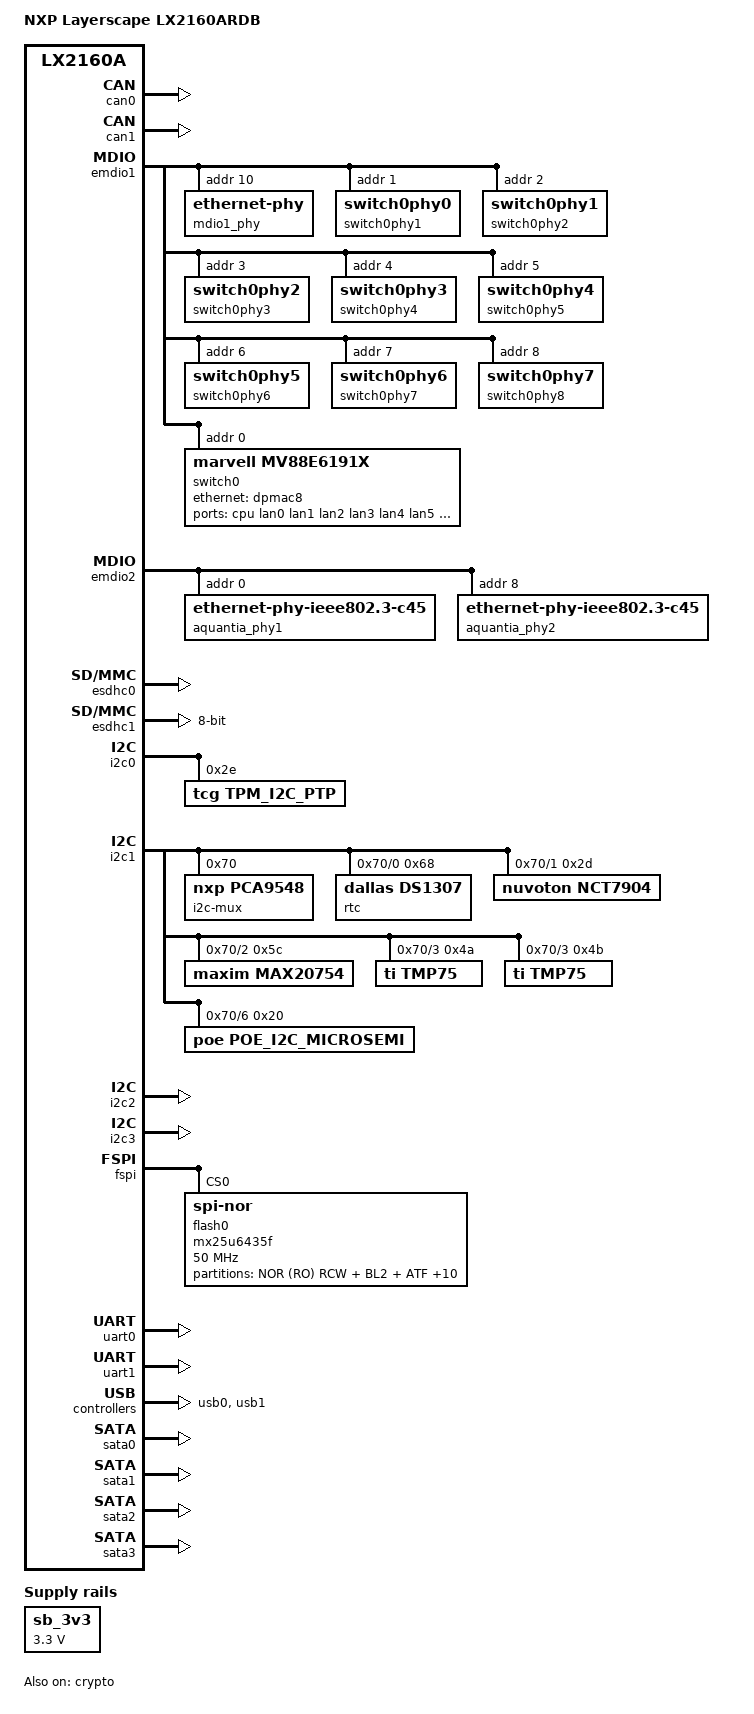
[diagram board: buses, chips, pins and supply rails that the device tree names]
// SPDX-License-Identifier: (GPL-2.0 OR MIT)
//
// Device Tree file for LX2160ARDB
//
// Copyright 2018-2019 NXP

/dts-v1/;

#include "fsl-lx2160a_m590_m690.dtsi"

/ {
	model = "NXP Layerscape LX2160ARDB";
	compatible = "fsl,lx2160a-rdb", "fsl,lx2160a";

	aliases {
		crypto = &crypto;
		serial0 = &uart0;
	};

	chosen {
		stdout-path = "serial0:115200n8";
	};

	sb_3v3: regulator-sb3v3 {
		compatible = "regulator-fixed";
		regulator-name = "MC34717-3.3VSB";
		regulator-min-microvolt = <3300000>;
		regulator-max-microvolt = <3300000>;
		regulator-boot-on;
		regulator-always-on;
	};
};

&can0 {
	status = "okay";

	can-transceiver {
		max-bitrate = <5000000>;
	};
};

&can1 {
	status = "okay";

	can-transceiver {
		max-bitrate = <5000000>;
	};
};

&crypto {
	status = "okay";
};

&emdio1 {
	status = "okay";
};

&emdio2 {
	status = "okay";
};

&esdhc0 {
	sd-uhs-sdr104;
	sd-uhs-sdr50;
	sd-uhs-sdr25;
	sd-uhs-sdr12;
	status = "okay";
};

&esdhc1 {
	mmc-hs200-1_8v;
	mmc-hs400-1_8v;
	bus-width = <8>;
	status = "okay";
};

&i2c0 {
	status = "okay";
#if 1
	tpm_i2c_ptp@2e {
		compatible = "tcg,tpm_i2c_ptp";
		reg = <0x2e>;
	};
#else
	i2c-mux@77 {
		compatible = "nxp,pca9547";
		reg = <0x77>;
		#address-cells = <1>;
		#size-cells = <0>;

		i2c@2 {
			#address-cells = <1>;
			#size-cells = <0>;
			reg = <0x2>;

			power-monitor@40 {
				compatible = "ti,ina220";
				reg = <0x40>;
				shunt-resistor = <1000>;
			};
		};

		i2c@3 {
			#address-cells = <1>;
			#size-cells = <0>;
			reg = <0x3>;

			temperature-sensor@4c {
				compatible = "nxp,sa56004";
				reg = <0x4c>;
				vcc-supply = <&sb_3v3>;
			};

			temperature-sensor@4d {
				compatible = "nxp,sa56004";
				reg = <0x4d>;
				vcc-supply = <&sb_3v3>;
			};
		};
	};
#endif
};

&i2c1 {
	status = "okay";
	i2c-mux@70 {
		compatible = "nxp,pca9548";
		reg = <0x70>;
		#address-cells = <1>;
		#size-cells = <0>;

		i2c@0 {
			#address-cells = <1>;
			#size-cells = <0>;
			reg = <0x00>;
			rtc@68 {
				compatible = "dallas,ds1307";
				reg = <0x68>;
			};
		};

		i2c@1 {
			#address-cells = <1>;
			#size-cells = <0>;
			reg = <0x01>;
			nct7904@2d {
				compatible = "nuvoton,nct7904";
				reg = <0x2d>;
			};
		};

		i2c@2 {
			#address-cells = <1>;
			#size-cells = <0>;
			reg = <0x02>;
			max20754@5c {
				compatible = "maxim,max20754";
				reg = <0x5c>;
			};
		};

		i2c@3 {
			#address-cells = <1>;
			#size-cells = <0>;
			reg = <0x03>;
			tmp75@4a {
				compatible = "ti,tmp75";
				reg = <0x4a>;
			};
			tmp75@4b {
				compatible = "ti,tmp75";
				reg = <0x4b>;
			};
		};

		i2c@6 {
			#address-cells = <1>;
			#size-cells = <0>;
			reg = <0x06>;
			poe@20 {
				compatible = "poe,poe_i2c_microsemi";
				reg = <0x20>;
			};
		};
    };
};

&i2c2 {
	status = "okay";
};

&i2c3 {
	status = "okay";
};

#if 0
&i2c4 {
	status = "okay";
#if 0
	rtc@51 {
		compatible = "nxp,pcf2129";
		reg = <0x51>;
		// IRQ10_B
		interrupts = <0 150 0x4>;
	};
#endif
};
#endif

&fspi {
	status = "okay";
#if 0
	nxp,fspi-has-second-chip;
	flash0: mt35xu512aba@0 {
		#address-cells = <1>;
		#size-cells = <1>;
		compatible = "micron,m25p80";
		m25p,fast-read;
		spi-max-frequency = <50000000>;
		reg = <0>;
		/* The following setting enables 1-1-8 (CMD-ADDR-DATA) mode */
		spi-rx-bus-width = <8>;
		spi-tx-bus-width = <1>;
	};

	flash1: mt35xu512aba@1 {
		#address-cells = <1>;
		#size-cells = <1>;
		compatible = "micron,m25p80";
		m25p,fast-read;
		spi-max-frequency = <50000000>;
		reg = <1>;
		/* The following setting enables 1-1-8 (CMD-ADDR-DATA) mode */
		spi-rx-bus-width = <8>;
		spi-tx-bus-width = <1>;
	};

	mx25u6435f0: flash@0 {
		compatible = "macronix,mx25u6435f", "jedec,spi-nor";
		#address-cells = <1>;
		#size-cells = <1>;
		compatible = "jedec,spi-nor";
		spi-max-frequency = <50000000>;
		reg = <0>;
		/* The following setting enables 1-1-8 (CMD-ADDR-DATA) mode */
		#spi-rx-bus-width = <1>;
		#spi-tx-bus-width = <1>;
	};
#endif
	flash0: mx25u6435f@0 {
		#address-cells = <1>;
		#size-cells = <1>;
		compatible = "jedec,spi-nor";
		m25p,fast-read;
		spi-max-frequency = <50000000>;
		reg = <0>;
		/* The following setting enables 1-1-8 (CMD-ADDR-DATA) mode */
		/*spi-rx-bus-width = <8>;
		spi-tx-bus-width = <1>;*/

                partition@rcw_atf {
                         /*1984 KB: RCW @ 0x0 | BL2 Image @ 0x9000 | ATF @ 0x100000 (RCW+BL2+ATF) */
                        reg = <0x0 0x1f0000>;
                        label = "NOR (RO) RCW + BL2 + ATF";
                };

                partition@dummy {
                         /*64 KB: allows NOT redoing not pkgspec, not bother ODM */
                        reg = <0x1f0000 0x10000>;
                        label = "NOR (RO) spare dummy";
                };

                partition@env {
                         /*64KB: u-boot ENV */
                        reg = <0x200000 0x10000>;
                        label = "NOR (RW) U-Boot ENV";
                };

                partition@Reserved0 {
                         /*1984 KB: Reserved */
                        label = "NOR (RW) Reserved-0";
                        reg = <0x210000 0x1f0000>;
                };

                partition@mcfw {
                         /*256KB: MC Firmware */
                        label = "NOR (RW) MC Firmware";
                        reg = <0x400000 0x200000>;
                };

                partition@dpl {
                         /*128KB: DPL */
                        label = "NOR (RW) DPL";
                        reg = <0x600000 0x20000>;
                };

                partition@dpc {
                         /*128KB: DPC */
                        label = "NOR (RW) DPC";
                        reg = <0x620000 0x20000>;
                };

/*
                partition@Reserved1 {
                        // 1792 MB: Reserved
                        label = "NOR (RW) Reserved-1";
                        reg = <0x640000 0x1c0000>;
                };
*/

                partition@WG-CFG0 {
                         /*128KB: WG CFG0 */
                        reg = <0x640000 0x20000>;
                        label = "NOR (RW) WG CFG0";
                };

                partition@WG-CFG1 {
                         /*128KB: WG CFG1 */
                        reg = <0x660000 0x20000>;
                        label = "NOR (RW) WG CFG1";
                };

                partition@WG-MFG {
                         /*128KB: WG MFG */
                        reg = <0x680000 0x20000>;
                        label = "NOR (RW) WG MFG";
                };

                partition@WG-bootOpt {
                        /* (1 MB+384 KB): WG bootOpt Data & reserved (end of Flash) */
                        reg = <0x6a0000 0x160000>;
                        label = "NOR (RW) WG bootOpt Data & reserved";
                };
	};
};

&uart0 {
	status = "okay";
};

&uart1 {
	status = "okay";
};

&usb0 {
	status = "okay";
};

&usb1 {
	status = "okay";
};

&emdio1 {
#if 0
	rgmii_phy1: ethernet-phy@1 {
		/* AR8035 PHY - "compatible" property not strictly needed */
		compatible = "ethernet-phy-id004d.d072";
		reg = <0x1>;
		/* Poll mode - no "interrupts" property defined */
	};
	rgmii_phy2: ethernet-phy@2 {
		/* AR8035 PHY - "compatible" property not strictly needed */
		compatible = "ethernet-phy-id004d.d072";
		reg = <0x2>;
		/* Poll mode - no "interrupts" property defined */
	};
	aquantia_phy1: ethernet-phy@4 {
		/* AQR107 PHY - "compatible" property not strictly needed */
		compatible = "ethernet-phy-ieee802.3-c45";
		interrupts = <GIC_SPI 2 IRQ_TYPE_LEVEL_HIGH>;
		reg = <0x4>;
	};
	aquantia_phy2: ethernet-phy@5 {
		/* AQR107 PHY - "compatible" property not strictly needed */
		compatible = "ethernet-phy-ieee802.3-c45";
		interrupts = <GIC_SPI 3 IRQ_TYPE_LEVEL_HIGH>;
		reg = <0x5>;
	};
#endif
	mdio1_phy: ethernet-phy@3 {
		reg = <0xa>;
		phy-connection-type = "xfi";
	};
#if 1
	switch0phy1: switch0phy0@1 {
		reg = <0x1>;
	};
	switch0phy2: switch0phy1@2 {
		reg = <0x2>;
	};
	switch0phy3: switch0phy2@3 {
		reg = <0x3>;
	};
	switch0phy4: switch0phy3@4 {
		reg = <0x4>;
	};
	switch0phy5: switch0phy4@5 {
		reg = <0x5>;
	};
	switch0phy6: switch0phy5@6 {
		reg = <0x6>;
	};
	switch0phy7: switch0phy6@7 {
		reg = <0x7>;
	};
	switch0phy8: switch0phy7@8 {
		reg = <0x8>;
	};

	switch0: switch0@0 {
		compatible = "marvell,mv88e6191X";
		#address-cells = <1>;
		#size-cells = <0>;
		reg = <0>;

		ports {
			#address-cells = <1>;
			#size-cells = <0>;

			cpuport1: port@10 {
				reg = <10>;
				label = "cpu";
				ethernet = <&dpmac8>;
				phy-mode = "10gbase-kr";
	            fixed-link {
	                speed = <1000>;
	                full-duplex;
	            };
			};

			port@0 {
				reg = <0>;
				label = "lan0";
				status = "disabled";
			};

			port@1 {
				reg = <1>;
				label = "lan1";
				cpu = <&cpuport1>;
			};

			port@2 {
				reg = <2>;
				label = "lan2";
				cpu = <&cpuport1>;
			};

			port@3 {
				reg = <3>;
				label = "lan3";
				cpu = <&cpuport1>;
			};

			port@4 {
				reg = <4>;
				label = "lan4";
				cpu = <&cpuport1>;
			};

			port@5 {
				reg = <5>;
				label = "lan5";
				cpu = <&cpuport1>;
			};

			port@6 {
				reg = <6>;
				label = "lan6";
				cpu = <&cpuport1>;
			};

			port@7 {
				reg = <7>;
				label = "lan7";
				cpu = <&cpuport1>;
			};

			port@8 {
				reg = <8>;
				label = "lan8";
				cpu = <&cpuport1>;
			};
		};
	};
#endif
};

&emdio2 {
#if 0
	inphi_phy: ethernet-phy@0 {
		compatible = "ethernet-phy-id0210.7440";
		reg = <0x0>;
	};
#endif
	aquantia_phy1: ethernet-phy@9 {
		/* AQR113C PHY - "compatible" property not strictly needed */
		compatible = "ethernet-phy-ieee802.3-c45";
		reg = <0x0>;
	};
	aquantia_phy2: ethernet-phy@10 {
		/* AQR113C PHY - "compatible" property not strictly needed */
		compatible = "ethernet-phy-ieee802.3-c45";
		reg = <0x8>;
	};
};
#if 0
&dpmac8 {
	phy-handle = <&usxgmii_phy>;
	phy-connection-type = "usxgmii";
};


&dpmac9 {
	phy-handle = <&sfp_phy1>;
	phy-connection-type = "sfi";
};

&dpmac10 {
	phy-handle = <&sfp_phy2>;
	phy-connection-type = "sfi";
};

&dpmac3 {
	phy-handle = <&usxgmii_phy1>;
	phy-connection-type = "xfi";
};
#endif

&dpmac3 {
	phy-handle = <&mdio1_phy>;
	phy-connection-type = "xfi";
};

&dpmac9 {
	phy-handle = <&aquantia_phy1>;
	phy-connection-type = "xfi";
};

&dpmac10 {
	phy-handle = <&aquantia_phy2>;
	phy-connection-type = "xfi";
};

#if 0
&dpmac3 {
	phy-handle = <&aquantia_phy1>;
	phy-connection-type = "xgmii";
};

&dpmac4 {
	phy-handle = <&aquantia_phy2>;
	phy-connection-type = "xgmii";
};

&dpmac5 {
	phy-handle = <&inphi_phy>;
};

&dpmac6 {
	phy-handle = <&inphi_phy>;
};

&dpmac17 {
	phy-handle = <&rgmii_phy1>;
	phy-connection-type = "rgmii-id";
};

&dpmac18 {
	phy-handle = <&rgmii_phy2>;
	phy-connection-type = "rgmii-id";
};
#endif

&sata0 {
	status = "okay";
};

&sata1 {
	status = "okay";
};

&sata2 {
	status = "okay";
};

&sata3 {
	status = "okay";
};
